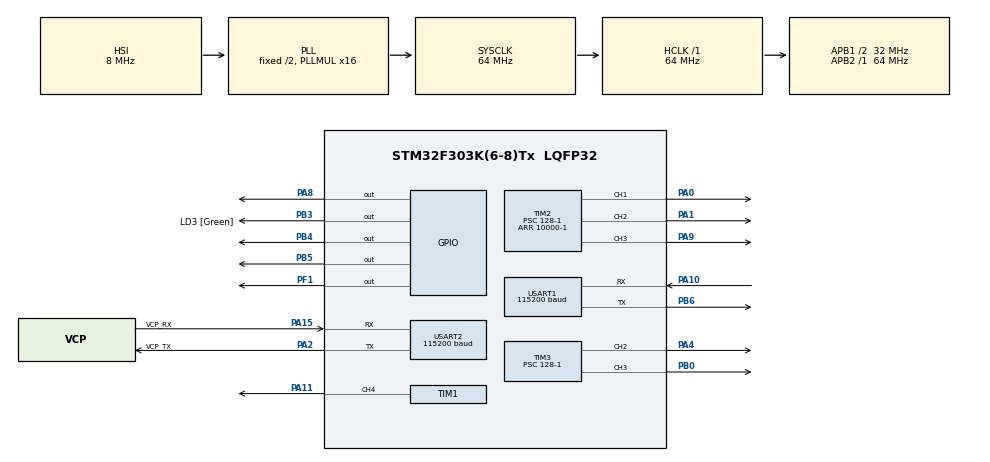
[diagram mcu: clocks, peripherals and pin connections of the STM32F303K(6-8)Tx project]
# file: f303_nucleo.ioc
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Mcu.Family=STM32F3
Mcu.Name=STM32F303K(6-8)Tx
Mcu.Package=LQFP32
NVIC.PriorityGroup=NVIC_PRIORITYGROUP_4
NVIC.USART1_IRQn=true\:0\:0\:false\:true\:true\:2\:true\:true
NVIC.USART2_IRQn=true\:0\:0\:false\:true\:true\:1\:true\:true
PA0.Signal=S_TIM2_CH1_ETR
PA1.Signal=S_TIM2_CH2
PA10.Mode=Asynchronous
PA10.Signal=USART1_RX
PA11.Signal=S_TIM1_CH4
PA13.GPIO_Label=SWDIO
PA13.Mode=Serial_Wire
PA13.Signal=SYS_JTMS-SWDIO
PA14.GPIO_Label=SWCLK
PA14.Mode=Serial_Wire
PA14.Signal=SYS_JTCK-SWCLK
PA15.GPIO_Label=VCP_RX
PA15.Mode=Asynchronous
PA15.Signal=USART2_RX
PA2.GPIO_Label=VCP_TX
PA2.Mode=Asynchronous
PA2.Signal=USART2_TX
PA4.Signal=S_TIM3_CH2
PA8.Signal=GPIO_Output
PA9.Signal=S_TIM2_CH3
PB0.Signal=S_TIM3_CH3
PB3.GPIO_Label=LD3 [Green]
PB3.Signal=GPIO_Output
PB4.Signal=GPIO_Output
PB5.Signal=GPIO_Output
PB6.Mode=Asynchronous
PB6.Signal=USART1_TX
PF0\ /\ OSC_IN.GPIO_Label=MCO
PF0\ /\ OSC_IN.Mode=HSE-External-Clock-Source
PF0\ /\ OSC_IN.Signal=RCC_OSC_IN
PF1\ /\ OSC_OUT.Signal=GPIO_Output
ProjectManager.HeapSize=0x200
ProjectManager.StackSize=0x400
ProjectManager.TargetToolchain=TrueSTUDIO
RCC.AHBFreq_Value=64000000
RCC.APB1CLKDivider=RCC_HCLK_DIV2
RCC.APB1Freq_Value=32000000
RCC.APB1TimFreq_Value=64000000
RCC.APB2Freq_Value=64000000
RCC.APB2TimFreq_Value=64000000
RCC.CortexFreq_Value=64000000
RCC.HCLKFreq_Value=64000000
RCC.HSE_VALUE=8000000
RCC.HSI_VALUE=8000000
RCC.PLLMUL=RCC_PLL_MUL16
RCC.SYSCLKFreq_VALUE=64000000
RCC.SYSCLKSourceVirtual=RCC_SYSCLKSOURCE_PLLCLK
SH.S_TIM1_CH4.0=TIM1_CH4,PWM Generation4 CH4
SH.S_TIM2_CH1_ETR.0=TIM2_CH1,PWM Generation1 CH1
SH.S_TIM2_CH2.0=TIM2_CH2,PWM Generation2 CH2
SH.S_TIM2_CH3.0=TIM2_CH3,PWM Generation3 CH3
SH.S_TIM3_CH2.0=TIM3_CH2,PWM Generation2 CH2
SH.S_TIM3_CH3.0=TIM3_CH3,PWM Generation3 CH3
TIM1.Channel-PWM\ Generation4\ CH4=TIM_CHANNEL_4
TIM1.Period=10000-1
TIM1.Prescaler=128-1
TIM1.Pulse-PWM\ Generation4\ CH4=1000
TIM2.Channel-PWM\ Generation1\ CH1=TIM_CHANNEL_1
TIM2.Channel-PWM\ Generation2\ CH2=TIM_CHANNEL_2
TIM2.Channel-PWM\ Generation3\ CH3=TIM_CHANNEL_3
TIM2.Period=10000-1
TIM2.Prescaler=128-1
TIM2.Pulse-PWM\ Generation1\ CH1=1000
TIM2.Pulse-PWM\ Generation2\ CH2=1000
TIM2.Pulse-PWM\ Generation3\ CH3=1000
TIM3.Channel-PWM\ Generation2\ CH2=TIM_CHANNEL_2
TIM3.Channel-PWM\ Generation3\ CH3=TIM_CHANNEL_3
TIM3.Period=10000-1
TIM3.Prescaler=128-1
TIM3.Pulse-PWM\ Generation2\ CH2=1000
TIM3.Pulse-PWM\ Generation3\ CH3=1000
USART1.BaudRate=115200
USART1.VirtualMode-Asynchronous=VM_ASYNC
USART2.BaudRate=115200
USART2.VirtualMode-Asynchronous=VM_ASYNC
VP_TIM1_VS_ClockSourceINT.Mode=Internal
VP_TIM2_VS_ClockSourceINT.Mode=Internal
VP_TIM3_VS_ClockSourceINT.Mode=Internal
board=NUCLEO-F303K8

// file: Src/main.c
/* USER CODE BEGIN Header */
/**
  ******************************************************************************
  * @file           : main.c
  * @brief          : Main program body
  ******************************************************************************
  * @attention
  *
  * <h2><center>&copy; Copyright (c) 2019 STMicroelectronics.
  * All rights reserved.</center></h2>
  *
  * This software component is licensed by ST under BSD 3-Clause license,
  * the "License"; You may not use this file except in compliance with the
  * License. You may obtain a copy of the License at:
  *                        opensource.org/licenses/BSD-3-Clause
  *
  ******************************************************************************
  */
/* USER CODE END Header */

#include "main.h"
#include "tim.h"
#include "usart.h"
#include "gpio.h"
#include <stdio.h>

/* USER CODE BEGIN PD */
#define	LED01_ON	HAL_GPIO_WritePin(GPIOF, GPIO_PIN_1, GPIO_PIN_SET)	// START_OUT LOW
#define	LED02_ON	HAL_GPIO_WritePin(GPIOA, GPIO_PIN_8, GPIO_PIN_SET)		// START_OUT high
#define	LED03_ON	HAL_GPIO_WritePin(GPIOB, GPIO_PIN_5, GPIO_PIN_SET)		// RESET_OUT HIGH
#define	LED04_ON	HAL_GPIO_WritePin(GPIOB, GPIO_PIN_4, GPIO_PIN_SET)	// RESET_OUT LOW

#define	LED01_OFF	HAL_GPIO_WritePin(GPIOF, GPIO_PIN_1, GPIO_PIN_RESET)	// START_OUT LOW
#define	LED02_OFF	HAL_GPIO_WritePin(GPIOA, GPIO_PIN_8, GPIO_PIN_RESET)		// START_OUT high
#define	LED03_OFF	HAL_GPIO_WritePin(GPIOB, GPIO_PIN_5, GPIO_PIN_RESET)		// RESET_OUT HIGH
#define	LED04_OFF	HAL_GPIO_WritePin(GPIOB, GPIO_PIN_4, GPIO_PIN_RESET)	// RESET_OUT LOW

#define LED01_TOGGLE   HAL_GPIO_TogglePin(GPIOF, GPIO_PIN_1)	//1
#define LED02_TOGGLE   HAL_GPIO_TogglePin(GPIOA, GPIO_PIN_8)	//2
#define LED03_TOGGLE   HAL_GPIO_TogglePin(GPIOB, GPIO_PIN_5)	//3
#define LED04_TOGGLE   HAL_GPIO_TogglePin(GPIOB, GPIO_PIN_4)	//4

/* USER CODE END PD */

/* USER CODE BEGIN PM */
#define	BEND_INDEX 			TIM2->CCR1 = 600		//index,  PA0
#define	BEND_MIDDLE 		TIM2->CCR2 = 600		//middle, PA1
#define	BEND_RING 			TIM2->CCR3 = 600		//ring,   PA9
#define	BEND_LITTLE 		TIM2->CCR2 = 600		//little, PA4
#define BEND_THUMB_JOINT 	TIM3->CCR3 = 700
#define BEND_THUMB			TIM1->CCR4 = 600

#define	STRET_INDEX 		TIM2->CCR1 = 1000		//index,  PA0
#define	STRET_MIDDLE 		TIM2->CCR2 = 1000		//middle, PA1
#define	STRET_RING 			TIM2->CCR3 = 1000		//ring,   PA9
#define	STRET_LITTLE 		TIM2->CCR2 = 1000		//little, PA4
#define STRET_THUMB_JOINT 	TIM3->CCR3 = 1000
#define STRET_THUMB			TIM1->CCR4 = 1000

#define STROKE_MAX			1000	//robot finger max stretch
#define STROKE_MIN			750		//robot finger max bending

#define UART1_BUF_SIZE		2
/* USER CODE END PM */

/* USER CODE BEGIN PV */
uint8_t rx2_data;
uint8_t tx2_data = 125;

uint8_t rx1_data[10];
uint8_t tx1_data = 125;

uint8_t motor_id = 0;
uint8_t pris_val = 0;

uint8_t FLAG_RxCplt=1;
uint8_t FLAG_Rx1Cplt=0;

uint8_t temp_rx2_data = 0;
uint8_t temp_rx1_data = 0;
uint8_t temp_rx1_data_arr[10];
uint16_t bend_pwm_ii = 0;
uint16_t bend_thumb_pwm_ii = 0;
uint16_t stret_pwm_ii = 0;
uint8_t main_ii = 0;

uint16_t bend_test  = 0;
uint16_t thumb_test = 0;
uint16_t finger_test = 0;
float stroke_y = 0.0f;
uint16_t pwm = 0.0;

uint32_t index_motor = 0;

/* USER CODE END PV */

void SystemClock_Config(void);
static void MX_NVIC_Init(void);
/* USER CODE BEGIN PFP */
void Finger_bending_stretch()
{
	TIM2->CCR1 = STROKE_MIN;		 	//index,  PA0
	HAL_Delay(200);
	TIM2->CCR2 = STROKE_MIN;		 	//middle, PA1
	HAL_Delay(200);
	TIM2->CCR3 = STROKE_MIN;		 	//ring,   PA9
	HAL_Delay(200);
	TIM3->CCR2 = STROKE_MIN;			//little, PA4
	HAL_Delay(800);

	TIM2->CCR1 = STROKE_MAX;		 	//index,  PA0
	HAL_Delay(200);
	TIM2->CCR2 = STROKE_MAX;		 	//middle, PA1
	HAL_Delay(200);
	TIM2->CCR3 = STROKE_MAX;		 	//ring,   PA9
	HAL_Delay(200);
	TIM3->CCR2 = STROKE_MAX;			//little, PA4
	HAL_Delay(800);

}

void Four_Finger_bending()
{
	TIM2->CCR1 = STROKE_MIN;		 	//index,  PA0
	TIM2->CCR2 = STROKE_MIN;		 	//middle, PA1
	TIM2->CCR3 = STROKE_MIN;		 	//ring,   PA9
	TIM3->CCR2 = STROKE_MIN;			//little, PA4
	HAL_Delay(800);

	//TIM3->CCR3 = 900;
	//TIM1->CCR4 = 850;
}

void Four_Finger_stretch()
{

	TIM2->CCR1 = STROKE_MAX;		 	//index,  PA0
	TIM2->CCR2 = STROKE_MAX;		 	//middle, PA1
	TIM2->CCR3 = STROKE_MAX;		 	//ring,   PA9
	TIM3->CCR2 = STROKE_MAX;		 	//little, PA4
	HAL_Delay(800);
	//TIM3->CCR3 = 1000;
	//TIM1->CCR4 = 1000;
}

void Full_gripping()
{

	HAL_GPIO_TogglePin(GPIOB, GPIO_PIN_7);

	Four_Finger_bending();
	HAL_Delay(2000);

	//STRET_THUMB_JOINT;
	//HAL_Delay(300);

	Four_Finger_stretch();
	HAL_Delay(1000);
}

void backup_longNose_grasp()
{
	int ii, jj = 0;
	TIM3->CCR3 = 650;
	TIM2->CCR1 = 800;
	for(ii = 1000; ii > 820; ii--)
	{
	  //TIM2->CCR1 = ii;
	  TIM2->CCR2 = ii;
	  HAL_Delay(15);

	}
	//TIM1->CCR4 = 950;
	HAL_Delay(5000);

	TIM2->CCR2 = 780;
	HAL_Delay(2500);

	for(jj = 0; jj < 10; jj++)
	{

	  TIM1->CCR4 = 920;
	  HAL_Delay(1500);

	  TIM1->CCR4 = 1000;
	  HAL_Delay(1500);
	}
}

void HAL_UART_RxCpltCallback(UART_HandleTypeDef *huart)
{
	HAL_GPIO_TogglePin(GPIOA, GPIO_PIN_6);
	if(huart->Instance == USART2)
	{
		HAL_UART_Receive_IT(&huart2, &rx2_data, 1);
		HAL_UART_Transmit(&huart2, &rx2_data, 1, 10);

		temp_rx2_data = rx2_data;
		FLAG_RxCplt = 1;
	}

	if(huart->Instance == USART1)
	{
		HAL_UART_Receive_IT(&huart1, rx1_data, UART1_BUF_SIZE);
		//temp_rx1_data_arr = rx1_data;
		FLAG_Rx1Cplt = 1;
		motor_id = rx1_data[0];
		pris_val = rx1_data[1];
		HAL_UART_Transmit(&huart1, &pris_val, 1, 10);
	}
}

/* USER CODE END PFP */

int main(void)
{

  /* MCU Configuration--------------------------------------------------------*/

  /* Reset of all peripherals, Initializes the Flash interface and the Systick. */
  HAL_Init();

  /* Configure the system clock */
  SystemClock_Config();

  /* Initialize all configured peripherals */
  MX_GPIO_Init();
  MX_USART2_UART_Init();
  MX_TIM1_Init();
  MX_TIM2_Init();
  MX_TIM3_Init();
  MX_USART1_UART_Init();

  /* Initialize interrupts */
  MX_NVIC_Init();
  /* USER CODE BEGIN 2 */
  HAL_TIM_PWM_Start(&htim2, TIM_CHANNEL_1);
  HAL_TIM_PWM_Start(&htim2, TIM_CHANNEL_2);
  HAL_TIM_PWM_Start(&htim2, TIM_CHANNEL_3);
  HAL_TIM_PWM_Start(&htim2, TIM_CHANNEL_4);
  HAL_TIM_PWM_Start(&htim3, TIM_CHANNEL_2);

  HAL_TIM_PWM_Start(&htim3, TIM_CHANNEL_3);
  HAL_TIM_PWM_Start(&htim1, TIM_CHANNEL_4);

  HAL_GPIO_TogglePin(GPIOB, GPIO_PIN_3);
  LED01_TOGGLE;
  LED02_TOGGLE;
  LED03_TOGGLE;
  LED04_TOGGLE;
  HAL_Delay(200);
  LED01_TOGGLE;
  LED02_TOGGLE;
  LED03_TOGGLE;
  LED04_TOGGLE;
  HAL_Delay(200);

  HAL_UART_Receive_IT(&huart1, rx1_data, UART1_BUF_SIZE);

  TIM2->CCR1 = 1000;
  TIM2->CCR2 = 1000;
  TIM2->CCR3 = 1000;
  TIM2->CCR4 = 1000;
  TIM3->CCR2 = 1000;

  TIM3->CCR3 = 1000;
  TIM1->CCR4 = 1000;

  /* bending, stretching */
  BEND_THUMB_JOINT;
  HAL_Delay(800);

  Finger_bending_stretch();
  STRET_THUMB_JOINT;
  /* bending, stretching END*/

  bend_thumb_pwm_ii = 500;
  bend_test = 550;
  thumb_test = 900;
  finger_test = STROKE_MIN;
  stroke_y = 7;
  printf("hello world \n");

  /* USER CODE END 2 */

  /* Infinite loop */
  while (1)
  {

    /* USER CODE BEGIN 3 */
	  //main_ii = temp_rx2_data;
	  FLAG_Rx1Cplt = 0;
	  HAL_UART_Receive_IT(&huart1, rx1_data, UART1_BUF_SIZE);

	  /* * * * * * * * * * * * * *
	   * full stretch of the finger     : 1000 pwm; which is 2.0ms.
	   * full bend of the finger(safety):  700 pwm; which is 1.4ms.
	   * motor's maximum operating 		:  500 pwm; which is 1.0ms.
	   */
	  pwm = -(pris_val * 25) + 1000;

	  switch(motor_id)
	  {
	  	  ///index finger
		  case 1:
			  TIM2->CCR1 = pwm;		 	//index,  PA0
			  //printf("%d, %d \n", pwm, pris_val);
			  //tx1_data = pwm;
			  HAL_UART_Transmit(&huart1, &pris_val, 1, 10);
			  break;
		  /// middle finger
		  case 2:
			  TIM2->CCR2 = pwm;		 	//middle,  PA1
			  //printf("%d, %d \n", pwm, pris_val);
			  //tx1_data = pwm;
			  HAL_UART_Transmit(&huart1, &pris_val, 1, 10);
			  break;
		  /// ring finger
		  case 3:
			  TIM2->CCR3 = pwm;		 	//ring,   PA9
			  //printf("%d, %d \n", pwm, pris_val);
			  //tx1_data = pwm;
			  HAL_UART_Transmit(&huart1, &pris_val, 1, 10);
			  break;
		  /// little finger
		  case 4:
			  TIM3->CCR2 = pwm;		 	//little, PA4
			  //printf("%d, %d \n", pwm, pris_val);
			  //tx1_data = pwm;
			  HAL_UART_Transmit(&huart1, &pris_val, 1, 10);
			  break;
		  case 5:
			  TIM1->CCR4 = pwm;		 	//thumb
			  //printf("%d, %d \n", pwm, pris_val);
			  //tx1_data = pwm;
			  HAL_UART_Transmit(&huart1, &pris_val, 1, 10);
			  break;
		  case 6:
			  TIM3->CCR3 = pwm;		 	//thumb_joint
			  //printf("%d, %d \n", pwm, pris_val);
			  //tx1_data = pwm;
			  HAL_UART_Transmit(&huart1, &pris_val, 1, 10);
			  break;
	  }

  }
  /* USER CODE END 3 */
}

void SystemClock_Config(void)
{
  RCC_OscInitTypeDef RCC_OscInitStruct = {0};
  RCC_ClkInitTypeDef RCC_ClkInitStruct = {0};
  RCC_PeriphCLKInitTypeDef PeriphClkInit = {0};

  /** Initializes the CPU, AHB and APB busses clocks
  */
  RCC_OscInitStruct.OscillatorType = RCC_OSCILLATORTYPE_HSI;
  RCC_OscInitStruct.HSIState = RCC_HSI_ON;
  RCC_OscInitStruct.HSICalibrationValue = RCC_HSICALIBRATION_DEFAULT;
  RCC_OscInitStruct.PLL.PLLState = RCC_PLL_ON;
  RCC_OscInitStruct.PLL.PLLSource = RCC_PLLSOURCE_HSI;
  RCC_OscInitStruct.PLL.PLLMUL = RCC_PLL_MUL16;
  if (HAL_RCC_OscConfig(&RCC_OscInitStruct) != HAL_OK)
  {
    Error_Handler();
  }
  /** Initializes the CPU, AHB and APB busses clocks
  */
  RCC_ClkInitStruct.ClockType = RCC_CLOCKTYPE_HCLK|RCC_CLOCKTYPE_SYSCLK
                              |RCC_CLOCKTYPE_PCLK1|RCC_CLOCKTYPE_PCLK2;
  RCC_ClkInitStruct.SYSCLKSource = RCC_SYSCLKSOURCE_PLLCLK;
  RCC_ClkInitStruct.AHBCLKDivider = RCC_SYSCLK_DIV1;
  RCC_ClkInitStruct.APB1CLKDivider = RCC_HCLK_DIV2;
  RCC_ClkInitStruct.APB2CLKDivider = RCC_HCLK_DIV1;

  if (HAL_RCC_ClockConfig(&RCC_ClkInitStruct, FLASH_LATENCY_2) != HAL_OK)
  {
    Error_Handler();
  }
  PeriphClkInit.PeriphClockSelection = RCC_PERIPHCLK_USART1|RCC_PERIPHCLK_TIM1;
  PeriphClkInit.Usart1ClockSelection = RCC_USART1CLKSOURCE_PCLK1;
  PeriphClkInit.Tim1ClockSelection = RCC_TIM1CLK_HCLK;
  if (HAL_RCCEx_PeriphCLKConfig(&PeriphClkInit) != HAL_OK)
  {
    Error_Handler();
  }
}

/**
  * @brief NVIC Configuration.
  * @retval None
  */
static void MX_NVIC_Init(void)
{
  /* USART2_IRQn interrupt configuration */
  HAL_NVIC_SetPriority(USART2_IRQn, 0, 0);
  HAL_NVIC_EnableIRQ(USART2_IRQn);
  /* USART1_IRQn interrupt configuration */
  HAL_NVIC_SetPriority(USART1_IRQn, 0, 0);
  HAL_NVIC_EnableIRQ(USART1_IRQn);
}

void Error_Handler(void)
{
}

/************************ (C) COPYRIGHT STMicroelectronics *****END OF FILE****/
